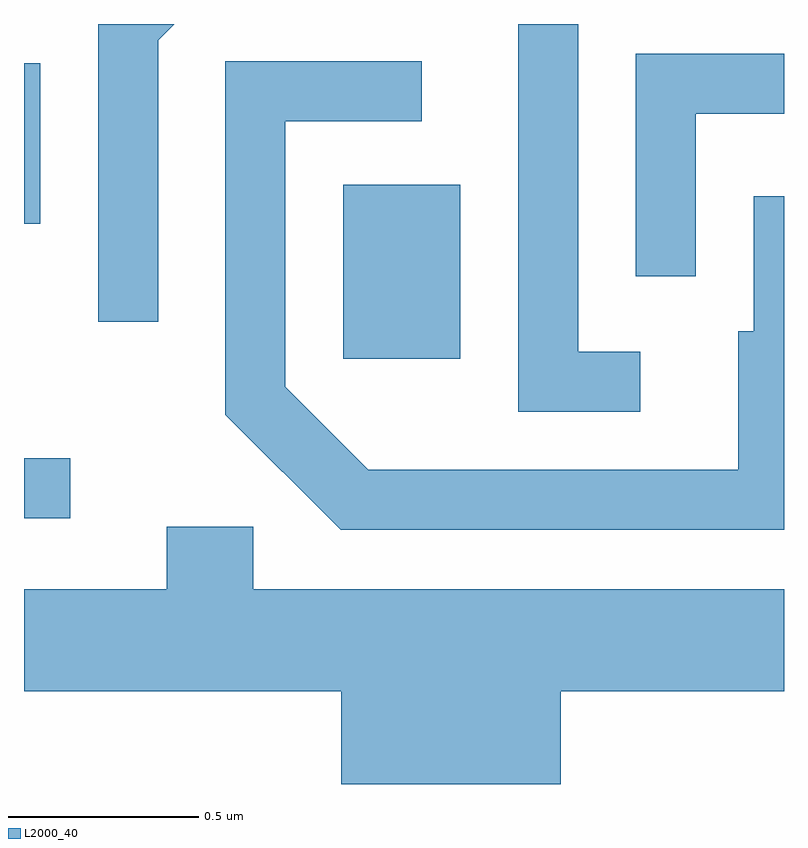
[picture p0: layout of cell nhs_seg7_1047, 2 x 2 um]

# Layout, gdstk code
import gdstk
lib = gdstk.Library(unit=1e-6, precision=1e-09)
def R(c, l, rs):  # rectangles x0, y0, x1, y1
    for r in rs: c.add(gdstk.rectangle(r[:2], r[2:], *l))
def P(c, l, *ps):  # polygons
    for p in ps: c.add(gdstk.Polygon(p, *l))
L2000_40 = (2000, 40)

nhs_seg7_1047 = lib.new_cell('nhs_seg7_1047')
R(nhs_seg7_1047, L2000_40, [(192.611,1756.951,192.733,1757.109), (193.451,1757.371,193.759,1757.829), (192.611,1757.726,192.654,1758.149)])
P(nhs_seg7_1047, L2000_40, [(192.964,1758.209),(193.007,1758.252),(192.806,1758.252),(192.806,1757.468),(192.964,1757.468)],
  [(194.233,1757.389),(194.069,1757.389),(194.069,1758.252),(193.911,1758.252),(193.911,1757.231),(194.233,1757.231)],
  [(194.379,1758.016),(194.611,1758.016),(194.611,1758.174),(194.221,1758.174),(194.221,1757.588),(194.379,1757.588)],
  [(194.611,1757.799),(194.531,1757.799),(194.531,1757.444),(194.491,1757.444),(194.491,1757.079),(193.517,1757.079),(193.299,1757.297),(193.299,1757.996),(193.658,1757.996),(193.658,1758.154),(193.141,1758.154),(193.141,1757.224),(193.444,1756.921),(194.611,1756.921)],
  [(194.024,1756.496),(194.611,1756.496),(194.611,1756.764),(193.214,1756.764),(193.214,1756.929),(192.986,1756.929),(192.986,1756.764),(192.611,1756.764),(192.611,1756.496),(193.446,1756.496),(193.446,1756.252),(194.024,1756.252)])

lib.write_gds('nhs_seg7_1047.gds')
